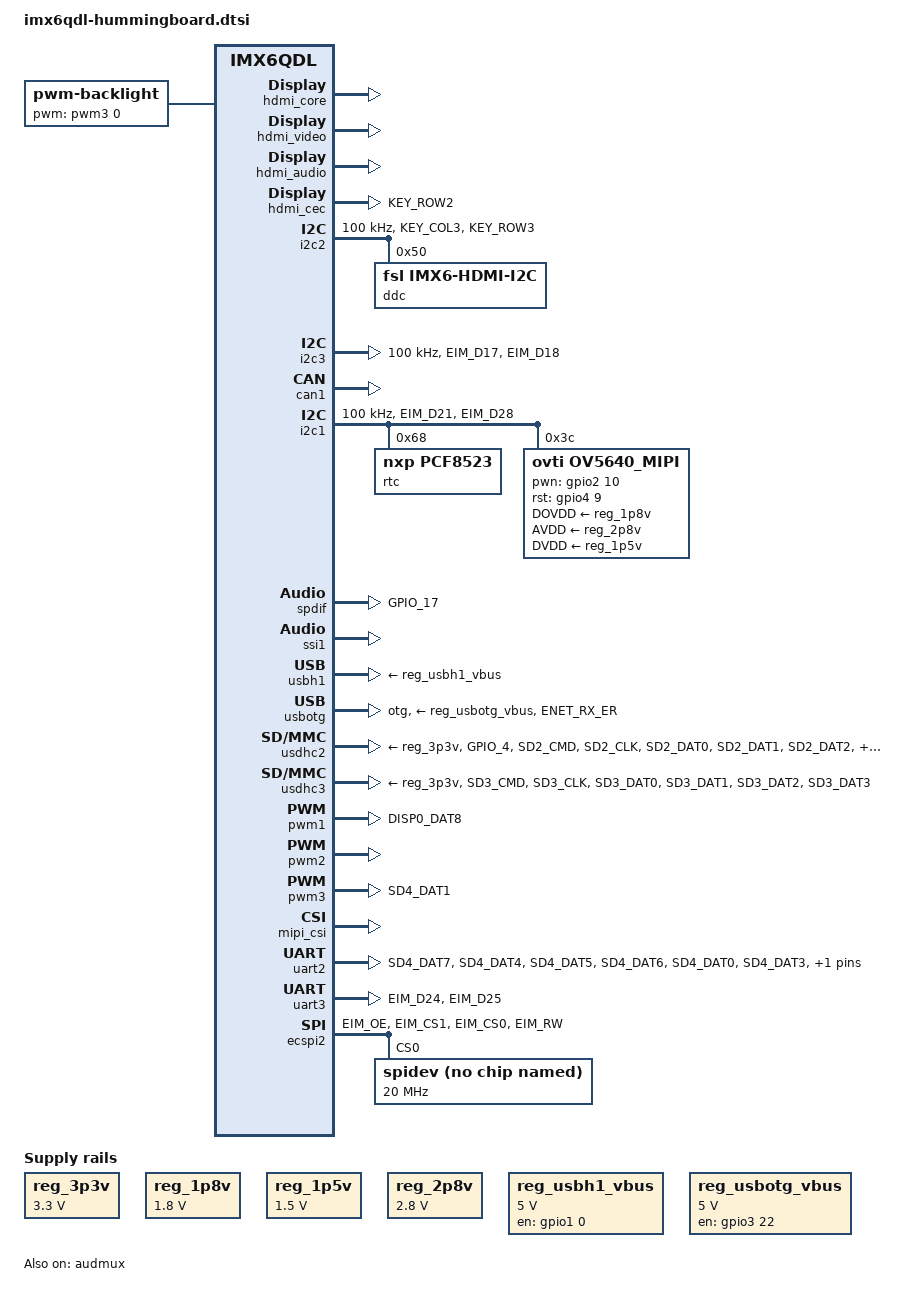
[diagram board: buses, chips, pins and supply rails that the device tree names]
/*
 * Copyright (C) 2013,2014 Russell King
 */
#include "imx6qdl-microsom.dtsi"
#include "imx6qdl-microsom-ar8035.dtsi"

/ {
	chosen {
		bootargs = "quiet console=ttymxc0,115200 root=/dev/mmcblk0p2 rw";
	};

	aliases {
		mxcfb0 = &mxcfb1;
		/*mxcfb1 = &mxcfb2;*/
	};

/*	ir_recv: ir-receiver {
		compatible = "gpio-ir-receiver";
		gpios = <&gpio3 5 1>;
		pinctrl-names = "default";
		pinctrl-0 = <&pinctrl_hummingboard_gpio3_5>;
		linux,rc-map-name = "rc-rc6-mce";
	};
*/
	regulators {
		compatible = "simple-bus";

		reg_3p3v: 3p3v {
			compatible = "regulator-fixed";
			regulator-name = "3P3V";
			regulator-min-microvolt = <3300000>;
			regulator-max-microvolt = <3300000>;
			regulator-always-on;
		};

		reg_1p8v: 1p8v {
			compatible = "regulator-fixed";
			regulator-name = "1P8V";
			regulator-min-microvolt = <1800000>;
                        regulator-max-microvolt = <1800000>;
                        regulator-always-on;			
		};



		reg_1p5v: 1p5v {
                        compatible = "regulator-fixed";
                        regulator-name = "1P5V";
                        regulator-min-microvolt = <1500000>;
                        regulator-max-microvolt = <1500000>;
                        regulator-always-on;
                };


		reg_2p8v: 2p8v {
                        compatible = "regulator-fixed";
                        regulator-name = "2P8V";
                        regulator-min-microvolt = <2800000>;
                        regulator-max-microvolt = <2800000>;
                        regulator-always-on;
                };


		reg_usbh1_vbus: usb-h1-vbus {
			compatible = "regulator-fixed";
			enable-active-high;
			gpio = <&gpio1 0 0>;
			pinctrl-names = "default";
			pinctrl-0 = <&pinctrl_hummingboard_usbh1_vbus>;
			regulator-name = "usb_h1_vbus";
			regulator-min-microvolt = <5000000>;
			regulator-max-microvolt = <5000000>;
		};

		reg_usbotg_vbus: usb-otg-vbus {
			compatible = "regulator-fixed";
			enable-active-high;
			gpio = <&gpio3 22 0>;
			pinctrl-names = "default";
			pinctrl-0 = <&pinctrl_hummingboard_usbotg_vbus>;
			regulator-name = "usb_otg_vbus";
			regulator-min-microvolt = <5000000>;
			regulator-max-microvolt = <5000000>;
		};
	};

/*
	sound-sgtl5000 {
		audio-codec = <&sgtl5000>;
		audio-routing =
			"MIC_IN", "Mic Jack",
			"Mic Jack", "Mic Bias",
			"Headphone Jack", "HP_OUT";
		compatible = "fsl,imx-audio-sgtl5000";
		model = "On-board Codec";
		mux-ext-port = <5>;
		mux-int-port = <1>;
		ssi-controller = <&ssi1>;
	};
*/

	sound-spdif {
		compatible = "fsl,imx-audio-spdif";
		model = "imx-spdif";
		spdif-controller = <&spdif>;
		spdif-out;
	};

	sound-hdmi {
		compatible = "fsl,imx6q-audio-hdmi",
			     "fsl,imx-audio-hdmi";
		model = "imx-audio-hdmi";
		hdmi-controller = <&hdmi_audio>;
	};

	/*mxcfb1: fb@0 {*/
	/*mxcfb2: fb@1{
		compatible = "fsl,mxc_sdc_fb";
		disp_dev = "hdmi";
		interface_pix_fmt = "RGB24";
		mode_str ="1920x1080M@60";
		default_bpp = <32>;
		int_clk = <0>;
		late_init = <0>;
		status = "okay";
	};*/

	/*mxcfb2: fb@1{*/
	mxcfb1: fb@0 {
		compatible = "fsl,mxc_sdc_fb";
		disp_dev = "lcd";
		interface_pix_fmt = "RGB24";
		mode_str ="ACCESS43";
		default_bpp = <32>;
		int_clk = <0>;
		late_init = <0>;
		status = "okay";
	};

	lcd: lcd@0 {
		compatible = "fsl,lcd";
		ipu_id = <0>;
		disp_id = <1>;
		default_ifmt = "RGB24";
		pinctrl-names = "default";
		pinctrl-0 = <&pinctrl_ipu1_1>;
		status = "okay";
	};
	
	
	backlight {
                compatible = "pwm-backlight";
                pwms = <&pwm3 0 5000000>;
                brightness-levels = <0  1  2  3  4  5  6  7  8  9

             10 11 12 13 14 15 16 17 18 19

             20 21 22 23 24 25 26 27 28 29

             30 31 32 33 34 35 36 37 38 39

             40 41 42 43 44 45 46 47 48 49

             50 51 52 53 54 55 56 57 58 59

             60 61 62 63 64 65 66 67 68 69

             70 71 72 73 74 75 76 77 78 79

             80 81 82 83 84 85 86 87 88 89

             90 91 92 93 94 95 96 97 98 99

            100>;
                default-brightness-level = <50>;
        };
	

	v4l2_cap_0 {
		compatible = "fsl,imx6q-v4l2-capture";
		ipu_id = <0>;
		csi_id = <1>;
		mclk_source = <0>;
		mipi_camera = <1>;
		default_input = <0>;
		status = "okay";
	};

	v4l2_out {
		compatible = "fsl,mxc_v4l2_output";
		status = "okay";
	};
};

&hdmi_core {
	ipu_id = <0>;
	disp_id = <0>;
	status = "okay";
};

&hdmi_video {
	fsl,phy_reg_vlev = <0x0294>;
	fsl,phy_reg_cksymtx = <0x800d>;
	status = "okay";
};

&hdmi_audio {
	status = "okay";
};

&hdmi_cec {
	pinctrl-names = "default";
	pinctrl-0 = <&pinctrl_hummingboard_hdmi>;
	status = "okay";
};

&i2c2 {
	clock-frequency = <100000>;
	pinctrl-names = "default";
	pinctrl-0 = <&pinctrl_hummingboard_i2c2>;
	status = "okay";

	ddc: imx6_hdmi_i2c@50 {
		compatible = "fsl,imx6-hdmi-i2c";
		reg = <0x50>;
	};
};

&i2c3 {
	clock-frequency = <100000>;
	pinctrl-names = "default";
	pinctrl-0 = <&pinctrl_hummingboard_i2c3>;
	status = "okay";
};

&audmux {
	status = "okay";
};

&can1 {
	pinctrl-names = "default";
	status = "okay";
};

&i2c1 {
	clock-frequency = <100000>;
	pinctrl-names = "default";
	pinctrl-0 = <&pinctrl_hummingboard_i2c1>;
	status = "okay";

	/* Pro model */
	rtc: pcf8523@68 {
		compatible = "nxp,pcf8523";
		reg = <0x68>;
	};

	/* Pro model */
/*
	sgtl5000: sgtl5000@0a {
		clocks = <&clks 201>;
		compatible = "fsl,sgtl5000";
		pinctrl-0 = <&pinctrl_hummingboard_sgtl5000>;
		pinctrl-names = "default";
		reg = <0x0a>;
		VDDA-supply = <&reg_3p3v>;
		VDDIO-supply = <&reg_3p3v>;
	};

*/

	/* Raspberry Pi camera rev 1.3 */
	/*ov5647_mipi: ov5647_mipi@36 {
		compatible = "ovti,ov5647_mipi";
		reg = <0x36>;
		/* Pi camera has its own 25MHz clock. */
		/*
		clocks = <&clks 0>;
		clock-names = "csi_mclk";
		DOVDD-supply = <&reg_3p3v>;
		AVDD-supply = <&reg_3p3v>;
		DVDD-supply = <&reg_3p3v>;
		pwn-gpios = <&gpio2 10 GPIO_ACTIVE_HIGH>;
		led-gpios = <&gpio6 15 GPIO_ACTIVE_HIGH>;
		ipu_id = <0>;
		csi_id = <1>;
		mclk = <25000000>;
		mclk_source = <0>;
		pinctrl-names = "default";
		pinctrl-0 = <&pinctrl_hummingboard_mipi>;
		extended-buffer;
	};*/
	
	/*BGR camera, OV5640*/
	ov5640_mipi: ov5640_mipi@3c {
		compatible = "ovti,ov5640_mipi";
		reg = <0x3c>;
		clocks = <&clks 200>; 				
				/*169 = CCM_CLKO1   &&  200 = CCM_CKO2  &&  201 = CCM_CLKO   &&  209 = video_27m  see Documentation/devicetree/bindings/clock/imx6q-clock.txt*/
		clock-names  = "csi_mclk";
		DOVDD-supply = <&reg_1p8v>;
                AVDD-supply = <&reg_2p8v>;
                DVDD-supply = <&reg_1p5v>;
                pwn-gpios = <&gpio2 10 GPIO_ACTIVE_HIGH>;
		rst-gpios = <&gpio4 9 GPIO_ACTIVE_HIGH>;
                ipu_id = <0>;
                csi_id = <1>;
                mclk = <24000000>;
                mclk_source = <0>;
                pinctrl-names = "default";
                pinctrl-0 = <&pinctrl_hummingboard_mipi>;
                extended-buffer;
	};
};

&iomuxc {
	pinctrl-names = "default";
	pinctrl-0 = <&pinctrl_hog>;
	hummingboard {
		pinctrl_hog: hoggrp {
			fsl,pins = <
				/*
				 * 26 pin header GPIO description. The pins 
				 * numbering as following -
				 * GPIO number | GPIO (bank,num) |  PIN number
				 * ------------+-----------------+------------
				 * gpio1       | (1,1)           | IO7
				 * gpio73      | (3,9)           | IO11
				 * gpio72      | (3,8)           | IO12
				 * gpio71      | (3,7)           | IO13
				 * gpio70      | (3,6)           | IO15
				 * gpio194     | (7,2)           | IO16
				 * gpio195     | (7,3)           | IO18
				 * gpio67      | (3,3)           | IO22
				 *
				 * Notice the gpioX and GPIO (Y,Z) mapping forumla :
				 * X = (Y-1) * 32 + Z
				 */
				MX6QDL_PAD_GPIO_1__GPIO1_IO01 0x400130b1
				/*MX6QDL_PAD_EIM_DA9__GPIO3_IO09 0x400130b1
				MX6QDL_PAD_EIM_DA8__GPIO3_IO08 0x400130b1
				MX6QDL_PAD_EIM_DA7__GPIO3_IO07 0x400130b1
				MX6QDL_PAD_EIM_DA6__GPIO3_IO06 0x400130b1*/
				/*MX6QDL_PAD_SD3_CMD__GPIO7_IO02 0x400130b1
				MX6QDL_PAD_SD3_CLK__GPIO7_IO03 0x400130b1*/
				/*MX6QDL_PAD_EIM_DA3__GPIO3_IO03 0x400130b1*/
				MX6QDL_PAD_GPIO_3__GPIO1_IO03 		0x400130b1   	/* Secret Switch!! GPIO3*/
				//MX6QDL_PAD_DISP0_DAT8__GPIO4_IO29 	0x400130b1 	/* Power to aux board (AKA PWM1, GPIO125) */
				MX6QDL_PAD_EIM_WAIT__GPIO5_IO00 	0x400130b1 	/* Power to aux board (GPIO128) */
				
				
				
			>;
		};

		/*pinctrl_hummingboard_gpio3_5: hummingboard-gpio3_5 {
			fsl,pins = <
				MX6QDL_PAD_EIM_DA5__GPIO3_IO05 0x80000000
			>;
		};*/

		pinctrl_hummingboard_hdmi: hummingboard-hdmi {
			fsl,pins = <
				MX6QDL_PAD_KEY_ROW2__HDMI_TX_CEC_LINE 0x1f8b0
			>;
		};

		pinctrl_hummingboard_i2c1: hummingboard-i2c1 {
			fsl,pins = <
				MX6QDL_PAD_EIM_D21__I2C1_SCL 0x4000a0b1 /*0x40000838 - old value*/
				MX6QDL_PAD_EIM_D28__I2C1_SDA 0x4000a0b1
			>;
		};

		pinctrl_hummingboard_i2c2: hummingboard-i2c2 {
			fsl,pins = <
				MX6QDL_PAD_KEY_COL3__I2C2_SCL 0x40000839
				MX6QDL_PAD_KEY_ROW3__I2C2_SDA 0x40000839 /*0x4000a0b1 - old value*/
			>;
		};
		
		pinctrl_hummingboard_i2c3: hummingboard-i2c3 {
			fsl,pins = <
				MX6QDL_PAD_EIM_D17__I2C3_SCL 0x40000838  /* 0x4001b8b1 */
				MX6QDL_PAD_EIM_D18__I2C3_SDA 0x40000838
			>;
		};

		/*pinctrl_hummingboard_sgtl5000: hummingboard-sgtl5000 {
			fsl,pins = <
				MX6QDL_PAD_DISP0_DAT19__AUD5_RXD 0x130b0 /*brk*//*
				MX6QDL_PAD_KEY_COL0__AUD5_TXC 0x130b0 /*ok*//*
				MX6QDL_PAD_KEY_ROW0__AUD5_TXD 0x110b0 /*brk*//*
				MX6QDL_PAD_KEY_COL1__AUD5_TXFS 0x130b0 /*ok*//*
				MX6QDL_PAD_GPIO_5__CCM_CLKO1 0x130b0
			>;
		};*/

		pinctrl_hummingboard_spdif: hummingboard-spdif {
			fsl,pins = <MX6QDL_PAD_GPIO_17__SPDIF_OUT 0x13091>;
		};

		pinctrl_hummingboard_usbh1_vbus: hummingboard-usbh1-vbus {
			fsl,pins = <MX6QDL_PAD_GPIO_0__GPIO1_IO00 0x1b0b0>;
		};

		pinctrl_hummingboard_usbotg_id: hummingboard-usbotg-id {
			/*
			 * Similar to pinctrl_usbotg_2, but we want it
			 * pulled down for a fixed host connection.
			 */
			/* Not any more!
			 * Now we want it pulled up for a permanent 
			 * slave connection!!
			 */
			fsl,pins = <MX6QDL_PAD_ENET_RX_ER__USB_OTG_ID 0x1B059>; /* 13059 - old value */
		};

		pinctrl_hummingboard_usbotg_vbus: hummingboard-usbotg-vbus {
			fsl,pins = <MX6QDL_PAD_EIM_D22__GPIO3_IO22 0x1b0b0>;
		};

		pinctrl_hummingboard_usdhc2_aux: hummingboard-usdhc2-aux {
			fsl,pins = <
				MX6QDL_PAD_GPIO_4__GPIO1_IO04    0x1f071
			>;
			/*can probably remove this - Nigel W says so!! */
		};

		pinctrl_hummingboard_usdhc2: hummingboard-usdhc2 {
			fsl,pins = <
				MX6QDL_PAD_SD2_CMD__SD2_CMD    0x17059
				MX6QDL_PAD_SD2_CLK__SD2_CLK    0x10059
				MX6QDL_PAD_SD2_DAT0__SD2_DATA0 0x17059
				MX6QDL_PAD_SD2_DAT1__SD2_DATA1 0x17059
				MX6QDL_PAD_SD2_DAT2__SD2_DATA2 0x17059
				MX6QDL_PAD_SD2_DAT3__SD2_DATA3 0x13059
			>;
		};
		
		pinctrl_hummingboard_usdhc3: hummingboard-usdhc3 {
			fsl,pins = <
				MX6QDL_PAD_SD3_CMD__SD3_CMD    0x17059
				MX6QDL_PAD_SD3_CLK__SD3_CLK    0x10059
				MX6QDL_PAD_SD3_DAT0__SD3_DATA0 0x17059
				MX6QDL_PAD_SD3_DAT1__SD3_DATA1 0x17059
				MX6QDL_PAD_SD3_DAT2__SD3_DATA2 0x17059
				MX6QDL_PAD_SD3_DAT3__SD3_DATA3 0x13059
			>;
		};

		/*pinctrl_hummingboard_pcie_reset: hummingboard-pcie-reset {
			fsl,pins = <
				MX6QDL_PAD_EIM_DA4__GPIO3_IO04 0x80000000
			>;
		};*/

		pinctrl_pwm1: pwm1grp {
			fsl,pins = <
				MX6QDL_PAD_DISP0_DAT8__PWM1_OUT 0x1b0b1
			>;
		};
		
		pinctrl_pwm3: pwm3grp {
			fsl,pins = <
				MX6QDL_PAD_SD4_DAT1__PWM3_OUT 0x1b0b1
			>;
		};

		pinctrl_hummingboard_mipi: hummingboard_mipi {
			fsl,pins = <
				MX6QDL_PAD_SD4_DAT2__GPIO2_IO10 0x17059
				MX6QDL_PAD_NANDF_CS2__CCM_CLKO2 0x1B059
				MX6QDL_PAD_KEY_ROW1__GPIO4_IO09 0x17059
				MX6QDL_PAD_GPIO_5__CCM_CLKO1 0x1B059
			>;
		};
	};

	ipu1 {
		pinctrl_ipu1_1: ipu1grp-1 {
			fsl,pins = <
				MX6QDL_PAD_EIM_A16__IPU1_DI1_DISP_CLK      0x10
				MX6QDL_PAD_EIM_DA10__IPU1_DI1_PIN15        0x10
				MX6QDL_PAD_EIM_DA11__IPU1_DI1_PIN02        0x10
				MX6QDL_PAD_EIM_DA12__IPU1_DI1_PIN03        0x10
				/*MX6QDL_PAD_EIM_DA15__IPU1_DI1_PIN04        0x80000000*/
				MX6QDL_PAD_EIM_DA14__IPU1_DI1_D1_CS	   0x10
				MX6QDL_PAD_EIM_DA13__IPU1_DI1_D0_CS        0x10
				
				MX6QDL_PAD_EIM_DA9__IPU1_DISP1_DATA00  	   0x10
				MX6QDL_PAD_EIM_DA8__IPU1_DISP1_DATA01      0x10
				MX6QDL_PAD_EIM_DA7__IPU1_DISP1_DATA02      0x10
				MX6QDL_PAD_EIM_DA6__IPU1_DISP1_DATA03      0x10
				MX6QDL_PAD_EIM_DA5__IPU1_DISP1_DATA04      0x10
				MX6QDL_PAD_EIM_DA4__IPU1_DISP1_DATA05      0x10
				MX6QDL_PAD_EIM_DA3__IPU1_DISP1_DATA06      0x10
				MX6QDL_PAD_EIM_DA2__IPU1_DISP1_DATA07      0x10
				
				MX6QDL_PAD_EIM_DA1__IPU1_DISP1_DATA08      0x10
				MX6QDL_PAD_EIM_DA0__IPU1_DISP1_DATA09      0x10
				MX6QDL_PAD_EIM_EB1__IPU1_DISP1_DATA10      0x10
				MX6QDL_PAD_EIM_EB0__IPU1_DISP1_DATA11      0x10
				MX6QDL_PAD_EIM_A17__IPU1_DISP1_DATA12      0x10
				MX6QDL_PAD_EIM_A18__IPU1_DISP1_DATA13      0x10
				MX6QDL_PAD_EIM_A19__IPU1_DISP1_DATA14      0x10
				MX6QDL_PAD_EIM_A20__IPU1_DISP1_DATA15      0x10
				
				MX6QDL_PAD_EIM_A21__IPU1_DISP1_DATA16      0x10
				MX6QDL_PAD_EIM_A22__IPU1_DISP1_DATA17      0x10
				MX6QDL_PAD_EIM_A23__IPU1_DISP1_DATA18      0x10
				MX6QDL_PAD_EIM_A24__IPU1_DISP1_DATA19      0x10
				MX6QDL_PAD_EIM_D31__IPU1_DISP1_DATA20      0x10
				MX6QDL_PAD_EIM_D30__IPU1_DISP1_DATA21      0x10
				MX6QDL_PAD_EIM_D26__IPU1_DISP1_DATA22      0x10
				MX6QDL_PAD_EIM_D27__IPU1_DISP1_DATA23      0x10
			>;
		};
	};
	
	
	BGR {
		pinctrl_BGR_uart2: BGR-uart2 {
			fsl,pins = <
				MX6QDL_PAD_SD4_DAT7__UART2_TX_DATA	0x1b0b1
				MX6QDL_PAD_SD4_DAT4__UART2_RX_DATA	0x1b0b1
				MX6QDL_PAD_SD4_DAT5__GPIO2_IO13         0x1b0b1 /*RTS*/
				MX6QDL_PAD_SD4_DAT6__GPIO2_IO14         0x1b0b1 /*CTS*/
				MX6QDL_PAD_SD4_DAT0__GPIO2_IO08         0x1b0b1 /*DSR*/
				MX6QDL_PAD_SD4_DAT3__GPIO2_IO11         0x1b0b1 /*DTR*/
			>;
		};
		
		pinctrl_BGR_uart3: BGR-uart3 {
			fsl,pins = <
				MX6QDL_PAD_EIM_D24__UART3_TX_DATA	0x1b0b1
				MX6QDL_PAD_EIM_D25__UART3_RX_DATA	0x1b0b1
				/*MX6QDL_PAD_SD4_DAT5__UART2_RTS_B        0x1b0b1
				MX6QDL_PAD_SD4_DAT6__UART2_CTS_B        0x1b0b1
				MX6QDL_PAD_SD4_DAT0__GPIO2_IO08         0x1b0b1 /*DSR*/
			/*	MX6QDL_PAD_SD4_DAT3__GPIO2_IO11         0x1b0b1 /*DTR*/
			>;
		};
		
		
		
		pinctrl_BGR_ecspi2_1: ecspi2grp-1 {
			fsl,pins = <
				MX6QDL_PAD_EIM_OE__ECSPI2_MISO 		0x100b1
				MX6QDL_PAD_EIM_CS1__ECSPI2_MOSI 	0x100b1
				MX6QDL_PAD_EIM_CS0__ECSPI2_SCLK 	0x100b1
				MX6QDL_PAD_EIM_RW__ECSPI2_SS0 		0x100b1
			>;

		};
	};
	
};



&spdif {
	pinctrl-names = "default";
	pinctrl-0 = <&pinctrl_hummingboard_spdif>;
	clocks = <&clks 197>, <&clks 0>,
		 <&clks 197>, <&clks 0>,
		 <&clks 0>,   <&clks 0>,
		 <&clks 0>,   <&clks 0>,
		 <&clks 0>;
	clock-names = "core",  "rxtx0",
		      "rxtx1", "rxtx2",
		      "rxtx3", "rxtx4",
		      "rxtx5", "rxtx6",
		      "rxtx7";
	status = "okay";
};

&ssi1 {
	fsl,mode = "i2s-slave";
	status = "okay";
};

&usbh1 {
	disable-over-current;
	vbus-supply = <&reg_usbh1_vbus>;
	status = "okay";
};

&usbotg {
	disable-over-current;
	pinctrl-names = "default";
	pinctrl-0 = <&pinctrl_hummingboard_usbotg_id>;
	vbus-supply = <&reg_usbotg_vbus>;
	dr_mode = "otg";
	status = "okay";
};

&usdhc2 {
	pinctrl-names = "default";
	pinctrl-0 = <
		&pinctrl_hummingboard_usdhc2_aux
		&pinctrl_hummingboard_usdhc2
	>;
	vmmc-supply = <&reg_3p3v>;
	cd-gpios = <&gpio1 4 0>;
	status = "okay";
};

&usdhc3 {
	pinctrl-names = "default";
	pinctrl-0 = <
		&pinctrl_hummingboard_usdhc3
	>;
	vmmc-supply = <&reg_3p3v>;
	/*cd-gpios = <&gpio1 4 0>;*/
	status = "okay";
};

&gpc {
	fsl,cpu_pupscr_sw2iso = <0xf>;
	fsl,cpu_pupscr_sw = <0xf>;
	fsl,cpu_pdnscr_iso2sw = <0x1>;
	fsl,cpu_pdnscr_iso = <0x1>;
};

/*
&pcie {
	pinctrl-names = "default";
	pinctrl-0 = <
		&pinctrl_hummingboard_pcie_reset
	>;
	reset-gpio = <&gpio3 4 0>;
	status = "okay";
	no-msi;
};*/

&pwm1 {
        pinctrl-names = "default";
        pinctrl-0 = <&pinctrl_pwm1>;
        status = "okay";
};

&pwm2 {
        pinctrl-names = "default";
        status = "okay";
};

&pwm3 {
	pinctrl-names = "default";
	pinctrl-0 = <&pinctrl_pwm3>;
        status = "okay";
	/*backlight*/
};

&pwm4 {
        status = "disabled";
};


&mipi_csi {
	ipu_id = <0>;
	csi_id = <1>;
	v_channel = <1>;
	lanes = <2>;
	mipi_dphy_clk = <0x14>;
	status = "okay";
};

&uart2 {
	pinctrl-names = "default";
	pinctrl-0 = <&pinctrl_BGR_uart2>;
	fsl,uart-has-rtscts;
	rts-gpios = <&gpio2 13 0>;
	cts-gpios = <&gpio2 14 0>;
	dtr-gpios = <&gpio2 11 0>;
	dsr-gpios = <&gpio2  8 0>;
	status = "okay";
};

&uart3 {
	pinctrl-names = "default";
	pinctrl-0 = <&pinctrl_BGR_uart3>;
	fsl,uart-has-rtscts;
	/*rts-gpios = <&gpio7  0 0>;
	cts-gpios = <&gpio7  1 0>;
	dtr-gpios = <&gpio6 17 0>;
	dsr-gpios = <&gpio6 18 0>;*/
	status = "okay";
};

&ecspi2 {
	fsl,spi-num-chipselects = <2>;
	/*cs-gpios = <&gpio3 19 0>,<0>;*/
	pinctrl-names = "default";
	pinctrl-0 = <&pinctrl_BGR_ecspi2_1>;
	status = "okay";

	spidev@0x00 {
		compatible = "spidev";
		spi-max-frequency = <20000000>;
		reg = <0>;
	};

	/*spidev@0x01 {
		compatible = "spidev";
		spi-max-frequency = <20000000>;
		reg = <1>;
	};*/
};

